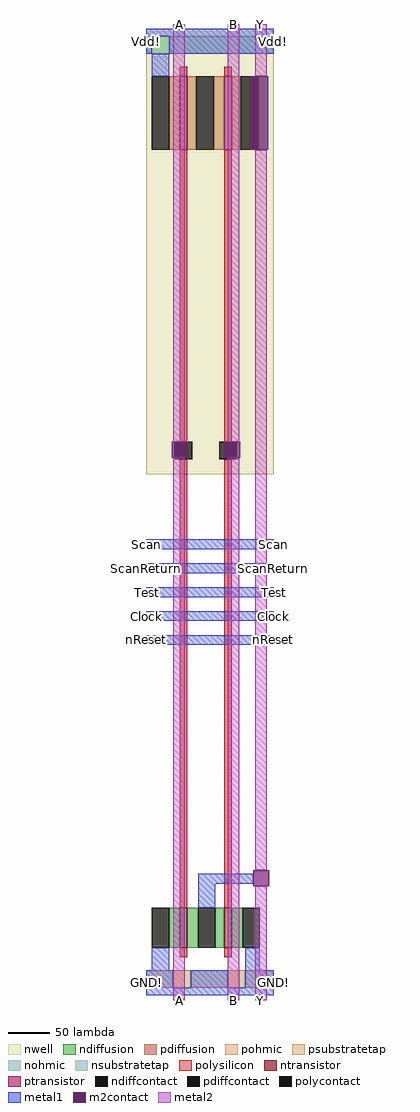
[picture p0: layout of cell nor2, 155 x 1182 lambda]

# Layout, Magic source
magic
tech tsmc180
<< nwell >>
rect 0 637 155 1176
<< polysilicon >>
rect 41 1119 50 1130
rect 95 1119 104 1130
rect 41 676 50 1030
rect 95 676 104 1030
rect 41 112 50 655
rect 95 112 104 655
rect 41 52 50 63
rect 95 52 104 63
<< ndiffusion >>
rect 28 63 41 112
rect 50 63 63 112
rect 84 63 95 112
rect 104 63 117 112
<< pdiffusion >>
rect 28 1030 41 1119
rect 50 1030 61 1119
rect 82 1030 95 1119
rect 104 1030 115 1119
<< pohmic >>
rect 0 15 33 36
rect 54 15 99 36
rect 120 15 155 36
<< nohmic >>
rect 0 1146 7 1167
rect 28 1146 155 1167
<< ntransistor >>
rect 41 63 50 112
rect 95 63 104 112
<< ptransistor >>
rect 41 1030 50 1119
rect 95 1030 104 1119
<< polycontact >>
rect 35 655 56 676
rect 89 655 110 676
<< ndiffcontact >>
rect 7 63 28 112
rect 63 63 84 112
rect 117 63 138 112
<< pdiffcontact >>
rect 7 1030 28 1119
rect 61 1030 82 1119
rect 115 1030 136 1119
<< psubstratetap >>
rect 33 15 54 36
rect 99 15 120 36
<< nsubstratetap >>
rect 7 1146 28 1167
<< metal1 >>
rect 0 1167 155 1176
rect 0 1146 7 1167
rect 28 1146 155 1167
rect 7 1119 28 1146
rect 0 546 155 558
rect 0 517 155 529
rect 0 488 155 500
rect 0 459 155 471
rect 0 430 155 442
rect 63 141 130 153
rect 63 112 84 141
rect 7 36 28 63
rect 120 36 138 63
rect 0 15 33 36
rect 54 15 99 36
rect 120 15 155 36
rect 0 6 155 15
<< m2contact >>
rect 127 1030 136 1119
rect 136 1030 148 1119
rect 31 657 35 676
rect 35 657 50 676
rect 95 657 110 676
rect 110 657 114 676
rect 130 138 149 157
<< metal2 >>
rect 33 676 47 1182
rect 99 676 113 1182
rect 132 1119 146 1182
rect 33 0 47 657
rect 99 0 113 657
rect 132 157 146 1030
rect 132 0 146 138
<< labels >>
rlabel metal1 0 488 0 500 3 Test
rlabel metal1 0 459 0 471 3 Clock
rlabel metal1 0 430 0 442 3 nReset
rlabel metal1 0 1146 0 1176 3 Vdd!
rlabel metal1 0 517 0 529 3 ScanReturn
rlabel metal1 0 546 0 558 3 Scan
rlabel metal1 0 6 0 36 3 GND!
rlabel metal2 33 0 47 0 1 A
rlabel metal2 33 1182 47 1182 5 A
rlabel metal2 99 0 113 0 1 B
rlabel metal2 99 1182 113 1182 5 B
rlabel metal1 155 1146 155 1176 1 Vdd!
rlabel metal1 155 546 155 558 7 Scan
rlabel metal1 155 488 155 500 7 Test
rlabel metal1 155 459 155 471 7 Clock
rlabel metal1 155 430 155 442 7 nReset
rlabel metal1 155 517 155 529 7 ScanReturn
rlabel metal2 132 1182 146 1182 5 Y
rlabel metal1 155 6 155 36 7 GND!
rlabel metal2 132 0 146 0 1 Y
<< end >>
